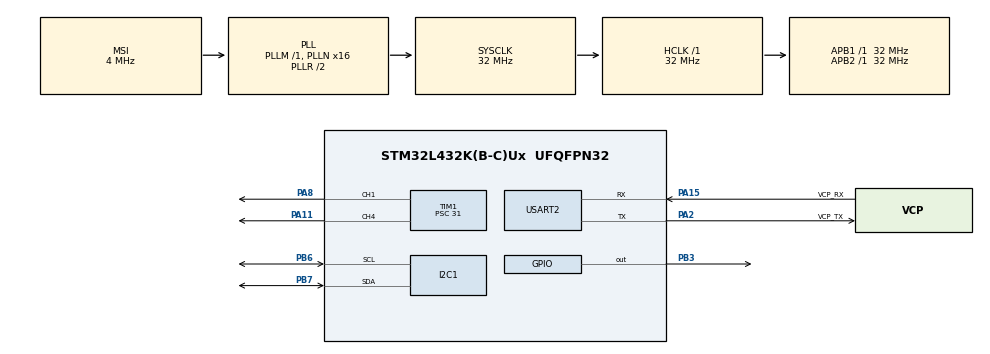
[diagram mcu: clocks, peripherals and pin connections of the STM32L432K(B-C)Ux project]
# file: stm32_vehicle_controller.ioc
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I2C1.Timing=0x00B07CB4
Mcu.Family=STM32L4
Mcu.Name=STM32L432K(B-C)Ux
Mcu.Package=UFQFPN32
NUCLEO-L432KC.LD3=true
NVIC.PriorityGroup=NVIC_PRIORITYGROUP_4
PA0.GPIO_Label=MCO [High speed clock in]
PA0.Signal=RCC_CK_IN
PA11.Signal=S_TIM1_CH4
PA13\ (JTMS-SWDIO).GPIO_Label=SWDIO
PA13\ (JTMS-SWDIO).Signal=SYS_JTMS-SWDIO
PA14\ (JTCK-SWCLK).GPIO_Label=SWCLK
PA14\ (JTCK-SWCLK).Signal=SYS_JTCK-SWCLK
PA15\ (JTDI).GPIO_Label=VCP_RX
PA15\ (JTDI).Mode=Asynchronous
PA15\ (JTDI).Signal=USART2_RX
PA2.GPIO_Label=VCP_TX
PA2.Mode=Asynchronous
PA2.Signal=USART2_TX
PA8.Signal=S_TIM1_CH1
PB3\ (JTDO-TRACESWO).Signal=GPIO_Output
PB6.Mode=I2C
PB6.Signal=I2C1_SCL
PB7.Mode=I2C
PB7.Signal=I2C1_SDA
PC14-OSC32_IN\ (PC14).Signal=RCC_OSC32_IN
PC15-OSC32_OUT\ (PC15).Signal=RCC_OSC32_OUT
ProjectManager.HeapSize=0x200
ProjectManager.StackSize=0x400
ProjectManager.TargetToolchain=STM32CubeIDE
RCC.AHBFreq_Value=32000000
RCC.APB1Freq_Value=32000000
RCC.APB1TimFreq_Value=32000000
RCC.APB2Freq_Value=32000000
RCC.APB2TimFreq_Value=32000000
RCC.CortexFreq_Value=32000000
RCC.HCLKFreq_Value=32000000
RCC.HSE_VALUE=8000000
RCC.HSI16_VALUE=16000000
RCC.HSI48_VALUE=48000000
RCC.HSI_VALUE=16000000
RCC.LSE_VALUE=32768
RCC.MSI_VALUE=4000000
RCC.PLLMUL=RCC_PLLMUL_4
RCC.PLLN=16
RCC.SYSCLKFreq_VALUE=32000000
RCC.SYSCLKSource=RCC_SYSCLKSOURCE_PLLCLK
RCC.VCOOutputFreq_Value=64000000
SH.S_TIM1_CH1.0=TIM1_CH1,PWM Generation1 CH1
SH.S_TIM1_CH4.0=TIM1_CH4,PWM Generation4 CH4
TIM1.Channel-PWM\ Generation1\ CH1=TIM_CHANNEL_1
TIM1.Channel-PWM\ Generation4\ CH4=TIM_CHANNEL_4
TIM1.Period=19999
TIM1.Prescaler=31
TIM1.Pulse-PWM\ Generation1\ CH1=1500
TIM1.Pulse-PWM\ Generation4\ CH4=1500
USART2.VirtualMode-Asynchronous=VM_ASYNC
VP_NUCLEO-L432KC_VS_BSP_COMMON.Mode=COMMON
board=NUCLEO-L432KC

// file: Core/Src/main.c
/* USER CODE BEGIN Header */
/**
  ******************************************************************************
  * @file           : main.c
  * @brief          : Main program body
  ******************************************************************************
  * @attention
  *
  * Copyright (c) 2026 STMicroelectronics.
  * All rights reserved.
  *
  * This software is licensed under terms that can be found in the LICENSE file
  * in the root directory of this software component.
  * If no LICENSE file comes with this software, it is provided AS-IS.
  *
  ******************************************************************************
  */
/* USER CODE END Header */
#include "main.h"

/* USER CODE BEGIN Includes */
#include <stdio.h>
#include <string.h>
/* USER CODE END Includes */

/* USER CODE BEGIN PM */
#define STEERING_NEG_US          1100
#define STEERING_CENTER_US       1400
#define STEERING_POS_US          1700

#define ESC_FULL_REVERSE_US      1100
#define ESC_REVERSE_START_US     1200
#define ESC_NEUTRAL_US           1500
#define ESC_FORWARD_START_US     1600
#define ESC_FULL_FORWARD_US      1900

#define COMMAND_MAX              1000
#define UART_BUFFER_SIZE         64
#define SERIAL_WATCHDOG_MS       500
/* USER CODE END PM */

I2C_HandleTypeDef hi2c1;

TIM_HandleTypeDef htim1;

UART_HandleTypeDef huart2;

/* USER CODE BEGIN PV */
uint8_t rx_byte;

char rx_buffer[UART_BUFFER_SIZE];
uint8_t rx_index = 0;

uint32_t last_command_ms = 0;
uint8_t watchdog_active = 0;

int16_t steering_cmd = 0;
int16_t throttle_cmd = 0;

uint16_t steering_pwm = STEERING_CENTER_US;
uint16_t esc_pwm = ESC_NEUTRAL_US;

int8_t drive_direction = 0;
// -1 = reverse
//  0 = neutral
// +1 = forward
/* USER CODE END PV */

void SystemClock_Config(void);
static void MX_GPIO_Init(void);
static void MX_TIM1_Init(void);
static void MX_USART2_UART_Init(void);
static void MX_I2C1_Init(void);

/* USER CODE BEGIN 0 */
static void mpu9250_read_config(void)
{
    uint8_t accel_config = 0;
    uint8_t gyro_config = 0;
    char buffer[80];

    HAL_I2C_Mem_Read(
        &hi2c1,
        0x68 << 1,
        0x1C,
        I2C_MEMADD_SIZE_8BIT,
        &accel_config,
        1,
        100
    );

    HAL_I2C_Mem_Read(
        &hi2c1,
        0x68 << 1,
        0x1B,
        I2C_MEMADD_SIZE_8BIT,
        &gyro_config,
        1,
        100
    );

    snprintf(
        buffer,
        sizeof(buffer),
        "ACCEL_CONFIG=0x%02X GYRO_CONFIG=0x%02X\r\n",
        accel_config,
        gyro_config
    );

    HAL_UART_Transmit(
        &huart2,
        (uint8_t *)buffer,
        strlen(buffer),
        HAL_MAX_DELAY
    );
}

static void mpu9250_read_raw(void)
{
    uint8_t data[14];
    char buffer[160];

    if (HAL_I2C_Mem_Read(
            &hi2c1,
            0x68 << 1,
            0x3B,
            I2C_MEMADD_SIZE_8BIT,
            data,
            14,
            100) != HAL_OK)
    {
        return;
    }

    int16_t ax = (int16_t)((data[0] << 8) | data[1]);
    int16_t ay = (int16_t)((data[2] << 8) | data[3]);
    int16_t az = (int16_t)((data[4] << 8) | data[5]);

    int16_t gx = (int16_t)((data[8] << 8) | data[9]);
    int16_t gy = (int16_t)((data[10] << 8) | data[11]);
    int16_t gz = (int16_t)((data[12] << 8) | data[13]);

    snprintf(
        buffer,
        sizeof(buffer),
        "ACC %d %d %d | GYRO %d %d %d\r\n",
        ax, ay, az,
        gx, gy, gz
    );

    HAL_UART_Transmit(
        &huart2,
        (uint8_t *)buffer,
        strlen(buffer),
        HAL_MAX_DELAY
    );
}

static void mpu9250_init(void)
{
    uint8_t data = 0x00;

    HAL_I2C_Mem_Write(
        &hi2c1,
        0x68 << 1,
        0x6B, // PWR_MGMT_1
        I2C_MEMADD_SIZE_8BIT,
        &data,
        1,
        100
    );

    HAL_Delay(100);
}

static void mpu9250_check(void)
{
    uint8_t who_am_i = 0;
    char buffer[64];

    HAL_StatusTypeDef status = HAL_I2C_Mem_Read(
        &hi2c1,
        0x68 << 1,
        0x75,
        I2C_MEMADD_SIZE_8BIT,
        &who_am_i,
        1,
        100
    );

    if (status == HAL_OK)
    {
        snprintf(
            buffer,
            sizeof(buffer),
            "MPU-9250 WHO_AM_I = 0x%02X\r\n",
            who_am_i
        );
    }
    else
    {
        snprintf(
            buffer,
            sizeof(buffer),
            "MPU-9250 read error\r\n"
        );
    }

    HAL_UART_Transmit(
        &huart2,
        (uint8_t *)buffer,
        strlen(buffer),
        HAL_MAX_DELAY
    );
}

static void i2c_scan(void)
{
    char buffer[64];

    HAL_UART_Transmit(
        &huart2,
        (uint8_t *)"\r\nI2C scan start\r\n",
        strlen("\r\nI2C scan start\r\n"),
        HAL_MAX_DELAY
    );

    for (uint8_t address = 1; address < 128; address++)
    {
        if (HAL_I2C_IsDeviceReady(
                &hi2c1,
                address << 1,
                2,
                10) == HAL_OK)
        {
            snprintf(
                buffer,
                sizeof(buffer),
                "Found device at 0x%02X\r\n",
                address
            );

            HAL_UART_Transmit(
                &huart2,
                (uint8_t *)buffer,
                strlen(buffer),
                HAL_MAX_DELAY
            );
        }
    }

    HAL_UART_Transmit(
        &huart2,
        (uint8_t *)"I2C scan complete\r\n",
        strlen("I2C scan complete\r\n"),
        HAL_MAX_DELAY
    );
}

static int16_t clamp_command(int value)
{
    if (value > COMMAND_MAX)
        return COMMAND_MAX;

    if (value < -COMMAND_MAX)
        return -COMMAND_MAX;

    return (int16_t)value;
}

static uint16_t steering_to_pwm(int16_t command)
{
    if (command > 0)
    {
        return STEERING_CENTER_US -
            ((uint32_t)command *
            (STEERING_CENTER_US - STEERING_NEG_US)) /
            COMMAND_MAX;
    }

    if (command < 0)
    {
        return STEERING_CENTER_US +
            ((uint32_t)(-command) *
            (STEERING_POS_US - STEERING_CENTER_US)) /
            COMMAND_MAX;
    }

    return STEERING_CENTER_US;
}

static uint16_t throttle_to_pwm(int16_t command)
{
    if (command > 0)
    {
        return ESC_FORWARD_START_US +
            ((uint32_t)command *
            (ESC_FULL_FORWARD_US - ESC_FORWARD_START_US)) /
            COMMAND_MAX;
    }

    if (command < 0)
    {
        return ESC_REVERSE_START_US -
            ((uint32_t)(-command) *
            (ESC_REVERSE_START_US - ESC_FULL_REVERSE_US)) /
            COMMAND_MAX;
    }

    return ESC_NEUTRAL_US;
}

static void apply_vehicle_command(int16_t steering, int16_t throttle)
{
    steering = clamp_command(steering);
    throttle = clamp_command(throttle);

    steering_cmd = steering;
    throttle_cmd = throttle;

    steering_pwm = steering_to_pwm(steering);

    __HAL_TIM_SET_COMPARE(
        &htim1,
        TIM_CHANNEL_1,
        steering_pwm
    );

    int8_t requested_direction = 0;

    if (throttle > 0)
        requested_direction = 1;
    else if (throttle < 0)
        requested_direction = -1;

    /*
     * Direct direction change:
     *
     * forward -> reverse
     * reverse -> forward
     *
     * Force an explicit neutral cycle first.
     */
    if (
        drive_direction != 0 &&
        requested_direction != 0 &&
        requested_direction != drive_direction
    )
    {
        esc_pwm = ESC_NEUTRAL_US;
        drive_direction = 0;

        __HAL_TIM_SET_COMPARE(
            &htim1,
            TIM_CHANNEL_4,
            esc_pwm
        );

        return;
    }

    esc_pwm = throttle_to_pwm(throttle);

    __HAL_TIM_SET_COMPARE(
        &htim1,
        TIM_CHANNEL_4,
        esc_pwm
    );

    drive_direction = requested_direction;
}

static void send_status(void)
{
    char buffer[128];

    snprintf(
        buffer,
        sizeof(buffer),
        "OK S=%d T=%d SPWM=%u EPWM=%u\r\n",
        steering_cmd,
        throttle_cmd,
        steering_pwm,
        esc_pwm
    );

    HAL_UART_Transmit(
        &huart2,
        (uint8_t *)buffer,
        strlen(buffer),
        HAL_MAX_DELAY
    );
}

static void process_command(char *line)
{
    int steering;
    int throttle;

    if (sscanf(line, "C,%d,%d", &steering, &throttle) == 2)
    {
        apply_vehicle_command(
            (int16_t)steering,
            (int16_t)throttle
        );

        last_command_ms = HAL_GetTick();
        watchdog_active = 0;

        send_status();
    }
}
/* USER CODE END 0 */

int main(void)
{

  /* MCU Configuration--------------------------------------------------------*/

  /* Reset of all peripherals, Initializes the Flash interface and the Systick. */
  HAL_Init();

  /* Configure the system clock */
  SystemClock_Config();

  /* Initialize all configured peripherals */
  MX_GPIO_Init();
  MX_TIM1_Init();
  MX_USART2_UART_Init();
  MX_I2C1_Init();
  /* USER CODE BEGIN 2 */
  HAL_TIM_PWM_Start(&htim1, TIM_CHANNEL_1);
  HAL_TIM_PWM_Start(&htim1, TIM_CHANNEL_4);

  apply_vehicle_command(0, 0);

  last_command_ms = HAL_GetTick();
  i2c_scan();
  mpu9250_check();
  mpu9250_init();
  mpu9250_read_config();
  /* USER CODE END 2 */

  /* Initialize leds */
  BSP_LED_Init(LED_GREEN);

  /* Infinite loop */
  /* USER CODE BEGIN WHILE */
  while (1)
  {
	  if (HAL_UART_Receive(&huart2, &rx_byte, 1, 1) == HAL_OK)
	      {
	          if (rx_byte == '\n' || rx_byte == '\r')
	          {
	              if (rx_index > 0)
	              {
	                  rx_buffer[rx_index] = '\0';

	                  process_command(rx_buffer);

	                  rx_index = 0;
	              }
	          }
	          else
	          {
	              if (rx_index < UART_BUFFER_SIZE - 1)
	              {
	                  rx_buffer[rx_index++] = rx_byte;
	              }
	              else
	              {
	                  rx_index = 0;
	              }
	          }
	      }

	      if (
	          !watchdog_active &&
	          (HAL_GetTick() - last_command_ms > SERIAL_WATCHDOG_MS)
	      )
	      {
	          apply_vehicle_command(0, 0);

	          watchdog_active = 1;
	      }
	      mpu9250_read_raw();
	      HAL_Delay(500);

    /* USER CODE END WHILE */

  }
}

void SystemClock_Config(void)
{
  RCC_OscInitTypeDef RCC_OscInitStruct = {0};
  RCC_ClkInitTypeDef RCC_ClkInitStruct = {0};

  /** Configure the main internal regulator output voltage
  */
  if (HAL_PWREx_ControlVoltageScaling(PWR_REGULATOR_VOLTAGE_SCALE1) != HAL_OK)
  {
    Error_Handler();
  }

  /** Initializes the RCC Oscillators according to the specified parameters
  * in the RCC_OscInitTypeDef structure.
  */
  RCC_OscInitStruct.OscillatorType = RCC_OSCILLATORTYPE_MSI;
  RCC_OscInitStruct.MSIState = RCC_MSI_ON;
  RCC_OscInitStruct.MSICalibrationValue = 0;
  RCC_OscInitStruct.MSIClockRange = RCC_MSIRANGE_6;
  RCC_OscInitStruct.PLL.PLLState = RCC_PLL_ON;
  RCC_OscInitStruct.PLL.PLLSource = RCC_PLLSOURCE_MSI;
  RCC_OscInitStruct.PLL.PLLM = 1;
  RCC_OscInitStruct.PLL.PLLN = 16;
  RCC_OscInitStruct.PLL.PLLP = RCC_PLLP_DIV7;
  RCC_OscInitStruct.PLL.PLLQ = RCC_PLLQ_DIV2;
  RCC_OscInitStruct.PLL.PLLR = RCC_PLLR_DIV2;
  if (HAL_RCC_OscConfig(&RCC_OscInitStruct) != HAL_OK)
  {
    Error_Handler();
  }

  /** Initializes the CPU, AHB and APB buses clocks
  */
  RCC_ClkInitStruct.ClockType = RCC_CLOCKTYPE_HCLK|RCC_CLOCKTYPE_SYSCLK
                              |RCC_CLOCKTYPE_PCLK1|RCC_CLOCKTYPE_PCLK2;
  RCC_ClkInitStruct.SYSCLKSource = RCC_SYSCLKSOURCE_PLLCLK;
  RCC_ClkInitStruct.AHBCLKDivider = RCC_SYSCLK_DIV1;
  RCC_ClkInitStruct.APB1CLKDivider = RCC_HCLK_DIV1;
  RCC_ClkInitStruct.APB2CLKDivider = RCC_HCLK_DIV1;

  if (HAL_RCC_ClockConfig(&RCC_ClkInitStruct, FLASH_LATENCY_1) != HAL_OK)
  {
    Error_Handler();
  }
}

static void MX_I2C1_Init(void)
{

  hi2c1.Instance = I2C1;
  hi2c1.Init.Timing = 0x00B07CB4;
  hi2c1.Init.OwnAddress1 = 0;
  hi2c1.Init.AddressingMode = I2C_ADDRESSINGMODE_7BIT;
  hi2c1.Init.DualAddressMode = I2C_DUALADDRESS_DISABLE;
  hi2c1.Init.OwnAddress2 = 0;
  hi2c1.Init.OwnAddress2Masks = I2C_OA2_NOMASK;
  hi2c1.Init.GeneralCallMode = I2C_GENERALCALL_DISABLE;
  hi2c1.Init.NoStretchMode = I2C_NOSTRETCH_DISABLE;
  if (HAL_I2C_Init(&hi2c1) != HAL_OK)
  {
    Error_Handler();
  }

  /** Configure Analogue filter
  */
  if (HAL_I2CEx_ConfigAnalogFilter(&hi2c1, I2C_ANALOGFILTER_ENABLE) != HAL_OK)
  {
    Error_Handler();
  }

  /** Configure Digital filter
  */
  if (HAL_I2CEx_ConfigDigitalFilter(&hi2c1, 0) != HAL_OK)
  {
    Error_Handler();
  }

}

static void MX_TIM1_Init(void)
{

  TIM_MasterConfigTypeDef sMasterConfig = {0};
  TIM_OC_InitTypeDef sConfigOC = {0};
  TIM_BreakDeadTimeConfigTypeDef sBreakDeadTimeConfig = {0};

  htim1.Instance = TIM1;
  htim1.Init.Prescaler = 31;
  htim1.Init.CounterMode = TIM_COUNTERMODE_UP;
  htim1.Init.Period = 19999;
  htim1.Init.ClockDivision = TIM_CLOCKDIVISION_DIV1;
  htim1.Init.RepetitionCounter = 0;
  htim1.Init.AutoReloadPreload = TIM_AUTORELOAD_PRELOAD_DISABLE;
  if (HAL_TIM_PWM_Init(&htim1) != HAL_OK)
  {
    Error_Handler();
  }
  sMasterConfig.MasterOutputTrigger = TIM_TRGO_RESET;
  sMasterConfig.MasterOutputTrigger2 = TIM_TRGO2_RESET;
  sMasterConfig.MasterSlaveMode = TIM_MASTERSLAVEMODE_DISABLE;
  if (HAL_TIMEx_MasterConfigSynchronization(&htim1, &sMasterConfig) != HAL_OK)
  {
    Error_Handler();
  }
  sConfigOC.OCMode = TIM_OCMODE_PWM1;
  sConfigOC.Pulse = 1500;
  sConfigOC.OCPolarity = TIM_OCPOLARITY_HIGH;
  sConfigOC.OCNPolarity = TIM_OCNPOLARITY_HIGH;
  sConfigOC.OCFastMode = TIM_OCFAST_DISABLE;
  sConfigOC.OCIdleState = TIM_OCIDLESTATE_RESET;
  sConfigOC.OCNIdleState = TIM_OCNIDLESTATE_RESET;
  if (HAL_TIM_PWM_ConfigChannel(&htim1, &sConfigOC, TIM_CHANNEL_1) != HAL_OK)
  {
    Error_Handler();
  }
  if (HAL_TIM_PWM_ConfigChannel(&htim1, &sConfigOC, TIM_CHANNEL_4) != HAL_OK)
  {
    Error_Handler();
  }
  sBreakDeadTimeConfig.OffStateRunMode = TIM_OSSR_DISABLE;
  sBreakDeadTimeConfig.OffStateIDLEMode = TIM_OSSI_DISABLE;
  sBreakDeadTimeConfig.LockLevel = TIM_LOCKLEVEL_OFF;
  sBreakDeadTimeConfig.DeadTime = 0;
  sBreakDeadTimeConfig.BreakState = TIM_BREAK_DISABLE;
  sBreakDeadTimeConfig.BreakPolarity = TIM_BREAKPOLARITY_HIGH;
  sBreakDeadTimeConfig.BreakFilter = 0;
  sBreakDeadTimeConfig.Break2State = TIM_BREAK2_DISABLE;
  sBreakDeadTimeConfig.Break2Polarity = TIM_BREAK2POLARITY_HIGH;
  sBreakDeadTimeConfig.Break2Filter = 0;
  sBreakDeadTimeConfig.AutomaticOutput = TIM_AUTOMATICOUTPUT_DISABLE;
  if (HAL_TIMEx_ConfigBreakDeadTime(&htim1, &sBreakDeadTimeConfig) != HAL_OK)
  {
    Error_Handler();
  }
  HAL_TIM_MspPostInit(&htim1);

}

static void MX_USART2_UART_Init(void)
{

  huart2.Instance = USART2;
  huart2.Init.BaudRate = 115200;
  huart2.Init.WordLength = UART_WORDLENGTH_8B;
  huart2.Init.StopBits = UART_STOPBITS_1;
  huart2.Init.Parity = UART_PARITY_NONE;
  huart2.Init.Mode = UART_MODE_TX_RX;
  huart2.Init.HwFlowCtl = UART_HWCONTROL_NONE;
  huart2.Init.OverSampling = UART_OVERSAMPLING_16;
  huart2.Init.OneBitSampling = UART_ONE_BIT_SAMPLE_DISABLE;
  huart2.AdvancedInit.AdvFeatureInit = UART_ADVFEATURE_NO_INIT;
  if (HAL_UART_Init(&huart2) != HAL_OK)
  {
    Error_Handler();
  }

}

static void MX_GPIO_Init(void)
{

  /* GPIO Ports Clock Enable */
  __HAL_RCC_GPIOC_CLK_ENABLE();
  __HAL_RCC_GPIOA_CLK_ENABLE();
  __HAL_RCC_GPIOB_CLK_ENABLE();

}

void Error_Handler(void)
{
  __disable_irq();
  while (1)
  {
  }
}
